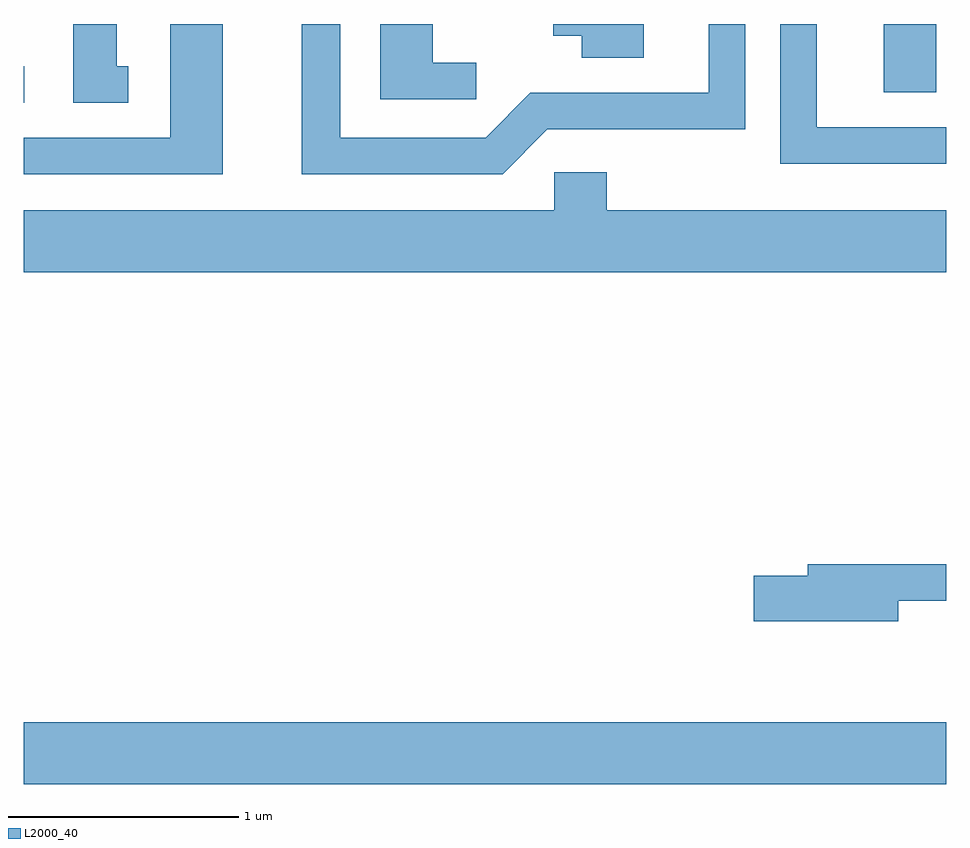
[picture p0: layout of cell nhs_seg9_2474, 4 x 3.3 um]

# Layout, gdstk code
import gdstk
lib = gdstk.Library(unit=1e-6, precision=1e-09)
def R(c, l, rs):  # rectangles x0, y0, x1, y1
    for r in rs: c.add(gdstk.rectangle(r[:2], r[2:], *l))
def P(c, l, *ps):  # polygons
    for p in ps: c.add(gdstk.Polygon(p, *l))
L2000_40 = (2000, 40)

nhs_seg9_2474 = lib.new_cell('nhs_seg9_2474')
R(nhs_seg9_2474, L2000_40, [(257.611,2005.136,261.611,2005.404), (257.611,2008.091,257.613,2008.249), (261.341,2008.136,261.569,2008.432)])
P(nhs_seg9_2474, L2000_40, [(260.299,2008.432),(259.906,2008.432),(259.906,2008.381),(260.031,2008.381),(260.031,2008.286),(260.299,2008.286)],
  [(261.611,2007.984),(261.049,2007.984),(261.049,2008.432),(260.891,2008.432),(260.891,2007.826),(261.611,2007.826)],
  [(258.063,2008.249),(258.014,2008.249),(258.014,2008.432),(257.826,2008.432),(257.826,2008.091),(258.063,2008.091)],
  [(258.474,2008.432),(258.246,2008.432),(258.246,2007.939),(257.611,2007.939),(257.611,2007.781),(258.474,2007.781)],
  [(259.573,2008.264),(259.384,2008.264),(259.384,2008.432),(259.156,2008.432),(259.156,2008.106),(259.573,2008.106)],
  [(259.882,2007.976),(260.739,2007.976),(260.739,2008.432),(260.581,2008.432),(260.581,2008.134),(259.808,2008.134),(259.614,2007.939),(258.984,2007.939),(258.984,2008.432),(258.816,2008.432),(258.816,2007.781),(259.687,2007.781)],
  [(261.611,2007.624),(260.139,2007.624),(260.139,2007.789),(259.911,2007.789),(259.911,2007.624),(257.611,2007.624),(257.611,2007.356),(261.611,2007.356)],
  [(261.404,2005.931),(261.611,2005.931),(261.611,2006.089),(261.011,2006.089),(261.011,2006.039),(260.776,2006.039),(260.776,2005.841),(261.404,2005.841)])

lib.write_gds('nhs_seg9_2474.gds')
